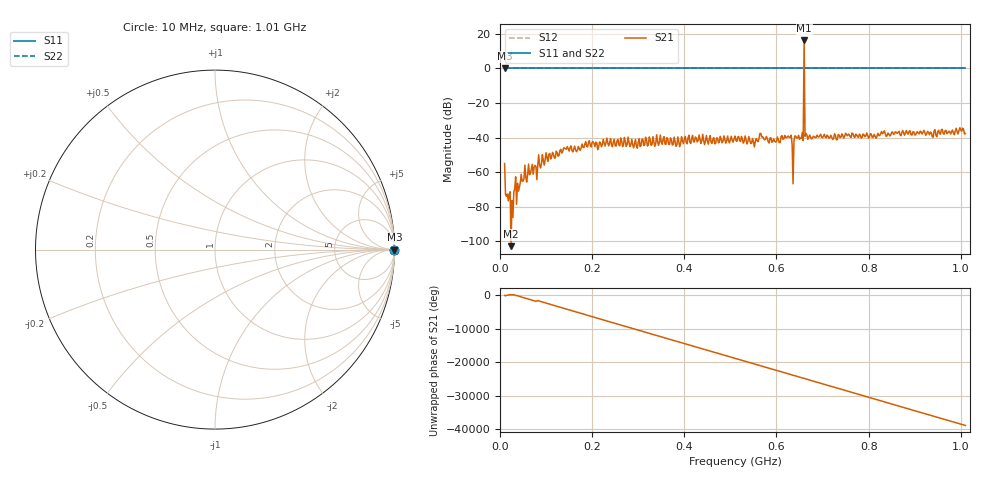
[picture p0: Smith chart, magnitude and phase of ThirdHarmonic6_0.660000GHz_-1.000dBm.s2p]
! 8/15/2025 9:56:29 PM
! C:\ANRITSUVNA\TEMP\TEMP.S2P
! CHANNEL.1
! TR.MEASUREMENT
! RAW.DATA
! RF.CORRECTION.OFF
! AVERAGING.OFF
! IF.BANDWIDTH: 5KHZ
! SWEEPTYPE:  FREQ.SWEEP(Linear)
! Reference Plane Port Info
! PORT:  PORT1  PORT2
! DISTANCE:  0  m  0  m
! TIME:  0  s  0  s
! PHASE.OFFSET:  0  deg.  0  deg.
! LOSS:  0  dB  0  dB
! REF.LOSS:  0  dB  0  dB
! REF.FREQ:  0  Hz  0  Hz
! Power Info
! POWER:  -20  dBm  -20  dBm
! EFF.POWER:  -20  dBm  -20  dBm
! SOURCE.ATTEN:  0  dB  0  dB
! TEST.ATTEN:  0  dB  0  dB
# GHZ S RI R 50.0
! FREQ.GHZ  S11RE  S11IM  S21RE  S21IM  S12RE  S12IM  S22RE  S22IM
!; PortSelection: Port_12
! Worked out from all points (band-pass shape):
!   501 points, 10 MHz to 1.01 GHz, reference 50 ohm
!   highest |S21| = 16.18 dB at 660 MHz (marker M1); lowest = -102.8 dB at 24 MHz (marker M2)
!   |S21| within 3 dB of the highest: 659.8964 MHz to 660.1082 MHz (211.8 kHz wide, 0.0321 % of centre)
!   lowest |S11| = 0.0 dB at 10 MHz (marker M3)
!   |S11| at or under -10 dB: nowhere
!   |S22| runs from 0.0 to 0.0 dB; largest |S21 - S12| = 5.5
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0.01  1 0  -0.000936 -0.0015  1 0  1 0
0.016  1 0  0.00014 -0.000186  1 0  1 0
0.024  1 0  7.2e-06 -7e-07  1 0  1 0
0.034  1 0  -0.000658 -0.000322  1 0  1 0
0.04  1 0  0.000211 0.000188  1 0  1 0
0.05  1 0  0.000481 -0.000257  1 0  1 0
0.096  1 0  0.000365 -0.00156  1 0  1 0
0.178  1 0  -0.00633 -0.00144  1 0  1 0
0.344  1 0  0.00594 0.000159  1 0  1 0
0.51  1 0  -0.011 0.000403  1 0  1 0
0.628  1 0  -0.00724 0.00695  1 0  1 0
0.634  1 0  -0.0034 -0.00526  1 0  1 0
0.64  1 0  0.0104 0.00432  1 0  1 0
0.642  1 0  0.00363 -0.0102  1 0  1 0
0.654  1 0  -0.00953 0.000205  1 0  1 0
0.656  1 0  -0.00167 0.0139  1 0  1 0
0.66  1 0  6.338 1.145  1 0  1 0
0.664  1 0  -0.00983 0.00866  1 0  1 0
0.666  1 0  0.00928 0.00744  1 0  1 0
0.678  1 0  0.00456 -0.00862  1 0  1 0
0.844  1 0  -0.00327 0.0122  1 0  1 0
1.01  1 0  0.00617 -0.0115  1 0  1 0
